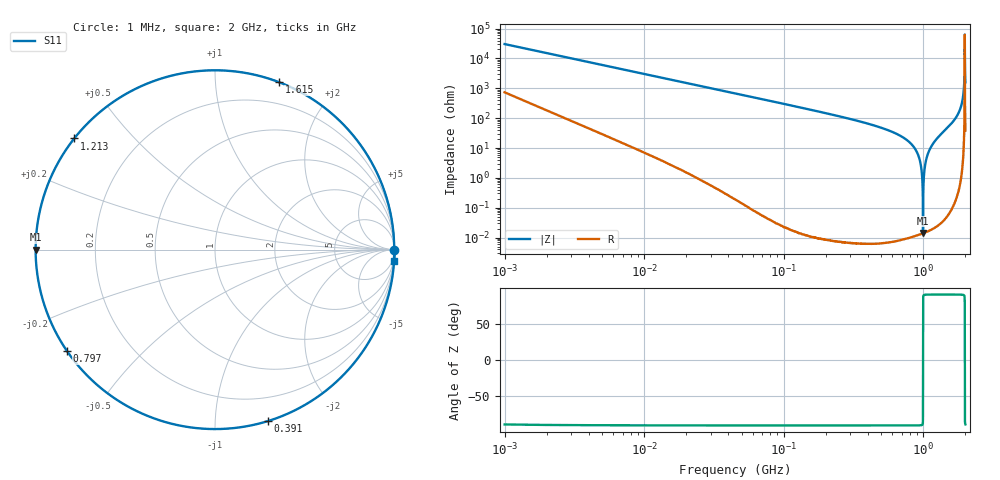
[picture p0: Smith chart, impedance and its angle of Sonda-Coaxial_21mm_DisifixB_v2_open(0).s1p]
! TOUCHSTONE file generated by CST MICROWAVE STUDIO
! Date and time: Sun Aug  2 20:26:45 2026
! Project name: Sonda-Coaxial_21mm_DisifixB_v2_Agua_Comun.cst
! Parameters = {h_recipiente=20; l_conector=50; r_arandela=35; r_ext=10.5; r_int=3; r_recipiente=100; z_recipiente=-500}
! Header version: 2018
! Port assignment regex: !\s*Touchstone port\s*([0-9]+)\s*=\s*(CST MWS port|CST DS port)\s*([0-9]+|Zmin|Zmax)\s*\(\"(.*)\"\)(\s*mode\s*([0-9]+))?.*
! Touchstone port assignment:
! Touchstone port 1 = CST MWS port 1 ("")
# GHz S RI R 50
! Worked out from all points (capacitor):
!   2000 points, 1 MHz to 2 GHz, reference 50 ohm
!   read as one part to ground: C = 5.24 pF near 11 MHz
!   lowest |Z| = 14.1 mohm at 994 MHz (marker M1)
!   series resonance near 994 MHz, so ESL is about 4.9 nH
!   S11 on the Smith chart (normalised r, x): 1 MHz: open; 391 MHz: 0.00, -1.35; 797 MHz: 0.00, -0.31; 1.213 GHz: 0.00, +0.35; 1.615 GHz: 0.00, +1.45; 2 GHz: 1, -32
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0.001  0.9999 -0.00329
0.061  0.9799 -0.1992
0.122  0.9207 -0.3901
0.185  0.8214 -0.5704
0.251  0.6808 -0.7324
0.322  0.4961 -0.8682
0.391  0.2931 -0.956
0.501  -0.052 -0.9985
0.56  -0.2352 -0.9718
0.621  -0.4148 -0.9097
0.751  -0.7373 -0.6751
0.797  -0.8248 -0.5647
0.897  -0.9563 -0.2908
0.994  -0.9994 -0.000108
1.001  -0.9992 0.0212
1.105  -0.9428 0.3313
1.213  -0.784 0.6195
1.251  -0.7062 0.7068
1.38  -0.3741 0.9264
1.441  -0.1905 0.9806
1.501  -0.00149 0.9989
1.615  0.3561 0.9331
1.682  0.5492 0.8341
1.751  0.7221 0.6898
1.817  0.8539 0.5176
1.879  0.9415 0.3326
1.939  0.9887 0.1395
2  0.9965 -0.0627
